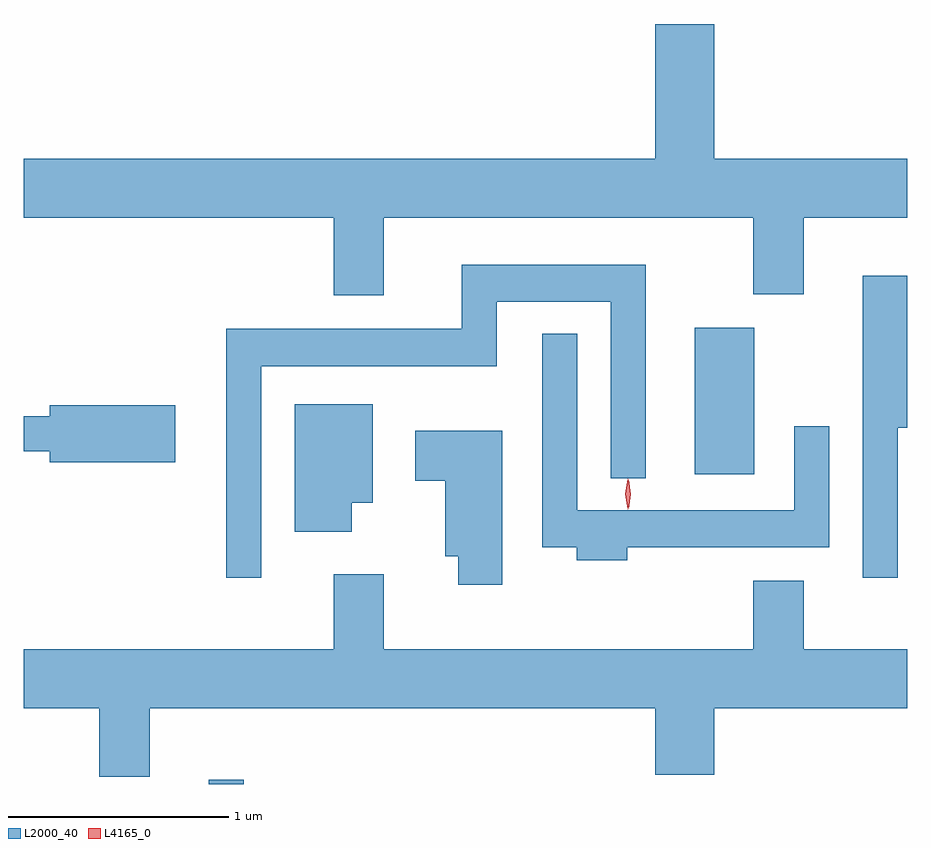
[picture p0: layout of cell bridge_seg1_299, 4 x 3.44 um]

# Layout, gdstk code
import gdstk
lib = gdstk.Library(unit=1e-6, precision=1e-09)
def R(c, l, rs):  # rectangles x0, y0, x1, y1
    for r in rs: c.add(gdstk.rectangle(r[:2], r[2:], *l))
def P(c, l, *ps):  # polygons
    for p in ps: c.add(gdstk.Polygon(p, *l))
L2000_40 = (2000, 40)
L4165_0 = (4165, 0)

bridge_seg1_299 = lib.new_cell('bridge_seg1_299')
R(bridge_seg1_299, L2000_40, [(872.396,885.914,872.554,885.933), (874.596,887.316,874.864,887.979)])
P(bridge_seg1_299, L2000_40, [(873.189,888.476),(874.861,888.476),(874.861,888.131),(875.089,888.131),(875.089,888.476),(875.558,888.476),(875.558,888.744),(874.684,888.744),(874.684,889.354),(874.416,889.354),(874.416,888.744),(871.558,888.744),(871.558,888.476),(872.961,888.476),(872.961,888.126),(873.189,888.126)],
  [(872.634,887.806),(873.699,887.806),(873.699,888.096),(874.216,888.096),(874.216,887.298),(874.374,887.298),(874.374,888.264),(873.541,888.264),(873.541,887.974),(872.476,887.974),(872.476,886.848),(872.634,886.848)],
  [(875.514,887.526),(875.558,887.526),(875.558,888.214),(875.356,888.214),(875.356,886.848),(875.514,886.848)],
  [(874.289,886.986),(875.204,886.986),(875.204,887.533),(875.046,887.533),(875.046,887.154),(874.064,887.154),(874.064,887.953),(873.906,887.953),(873.906,886.986),(874.061,886.986),(874.061,886.926),(874.289,886.926)],
  [(873.044,887.186),(873.139,887.186),(873.139,887.634),(872.786,887.634),(872.786,887.056),(873.044,887.056)],
  [(872.244,887.629),(871.676,887.629),(871.676,887.579),(871.558,887.579),(871.558,887.421),(871.676,887.421),(871.676,887.371),(872.244,887.371)],
  [(873.724,887.514),(873.331,887.514),(873.331,887.286),(873.466,887.286),(873.466,886.946),(873.526,886.946),(873.526,886.816),(873.724,886.816)],
  [(872.129,886.256),(874.416,886.256),(874.416,885.956),(874.684,885.956),(874.684,886.256),(875.558,886.256),(875.558,886.524),(875.089,886.524),(875.089,886.834),(874.861,886.834),(874.861,886.524),(873.189,886.524),(873.189,886.864),(872.961,886.864),(872.961,886.524),(871.558,886.524),(871.558,886.256),(871.901,886.256),(871.901,885.946),(872.129,885.946)])
P(bridge_seg1_299, L4165_0, [(874.292,887.157),(874.292,887.157),(874.282,887.227),(874.292,887.296),(874.292,887.296),(874.293,887.296),(874.302,887.227),(874.293,887.157)],
  [(874.296,887.159),(874.296,887.16),(874.286,887.226),(874.296,887.292),(874.296,887.293),(874.296,887.292),(874.306,887.226),(874.296,887.16)])

lib.write_gds('bridge_seg1_299.gds')
